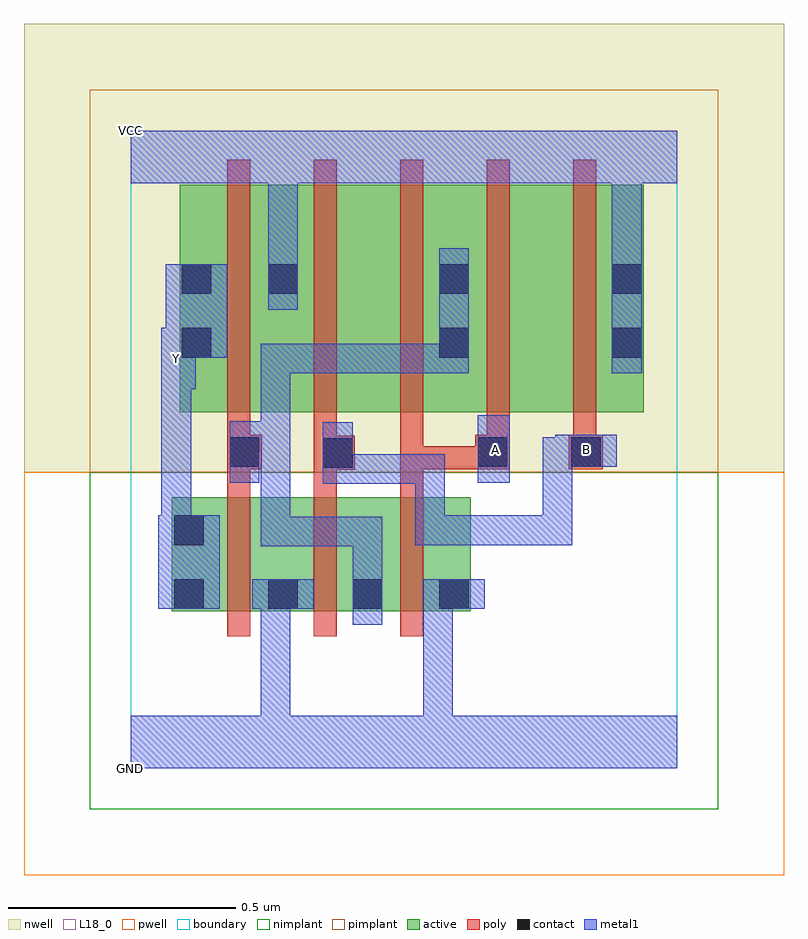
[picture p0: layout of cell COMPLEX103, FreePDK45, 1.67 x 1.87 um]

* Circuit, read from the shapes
.subckt COMPLEX103 A B GND VCC Y
M1 GND n1 Y VSUBS nfet w=0.25u l=0.05u
M2 n1 B GND VSUBS nfet w=0.25u l=0.05u
M3 GND A n1 VSUBS nfet w=0.25u l=0.05u
M4 VCC n1 Y n2 pfet w=0.5u l=0.05u
M5 n3 B VCC n2 pfet w=0.5u l=0.05u
M6 n1 A n3 n2 pfet w=0.5u l=0.05u
M7 n4 A n1 n2 pfet w=0.5u l=0.05u
M8 VCC B n4 n2 pfet w=0.5u l=0.05u
.ends

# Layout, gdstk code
import gdstk
lib = gdstk.Library(unit=1e-6, precision=1e-09)
def R(c, l, rs):  # rectangles x0, y0, x1, y1
    for r in rs: c.add(gdstk.rectangle(r[:2], r[2:], *l))
def A(c, l, x, y, w, h, nx, ny, dx, dy):  # array of equal rectangles
    R(c, l, [(x+i*dx, y+j*dy, x+i*dx+w, y+j*dy+h) for i in range(nx) for j in range(ny)])
active = (1, 0)
pwell = (2, 0)
nwell = (3, 0)
nimplant = (4, 0)
pimplant = (5, 0)
poly = (9, 0)
contact = (10, 0)
metal1 = (11, 0)
L18_0 = (18, 0)
boundary = (235, 0)

complex103 = lib.new_cell('COMPLEX103')
R(complex103, active, [(0.09,0.345,0.165,0.595), (0.09,0.345,0.372,0.595), (0.297,0.345,0.557,0.595), (0.297,0.345,0.372,0.497), (0.482,0.345,0.557,0.595), (0.482,0.345,0.747,0.595), (0.672,0.345,0.747,0.595), (0.107,0.782,0.372,1.282), (0.107,0.782,0.182,1.2), (0.297,0.782,0.522,1.282), (0.522,0.782,0.747,1.282), (0.672,0.782,0.902,1.282), (0.902,0.782,1.127,1.282), (1.052,0.782,1.127,1.205), (0.297,0.807,0.372,1.205), (0.672,0.807,0.747,1.2)])
R(complex103, pwell, [(-0.235,-0.235,1.435,0.65)])
R(complex103, nwell, [(-0.235,0.65,1.435,1.635)])
R(complex103, nimplant, [(-0.09,-0.09,1.29,0.65)])
R(complex103, pimplant, [(-0.09,0.65,1.29,1.49)])
A(complex103, poly, 0.212, 0.29, 0.05, 0.36, 3, 1, 0.19, 0)
A(complex103, poly, 0.212, 0.727, 0.05, 0.61, 5, 1, 0.19, 0)
R(complex103, poly, [(0.212,0.6,0.262,0.707), (0.402,0.6,0.452,0.705), (0.592,0.6,0.642,0.707), (0.402,0.655,0.492,0.73), (0.212,0.657,0.287,0.732), (0.592,0.657,0.807,0.707), (0.592,0.657,0.642,0.707), (0.592,0.657,0.642,0.707), (0.592,0.657,0.642,0.707), (0.592,0.657,0.642,0.777), (0.757,0.657,0.832,0.732), (0.962,0.657,1.037,0.732), (0.402,0.68,0.452,0.777), (0.212,0.682,0.262,0.777), (0.782,0.682,0.832,0.777), (0.972,0.682,1.022,0.777)])
R(complex103, contact, [(0.095,0.35,0.16,0.415), (0.302,0.35,0.367,0.415), (0.487,0.35,0.552,0.415), (0.677,0.35,0.742,0.415), (0.095,0.49,0.16,0.555), (0.422,0.66,0.487,0.725), (0.217,0.662,0.282,0.727), (0.762,0.662,0.827,0.727), (0.967,0.662,1.032,0.727), (0.112,0.902,0.177,0.967), (0.677,0.902,0.742,0.967), (1.057,0.902,1.122,0.967), (0.112,1.042,0.177,1.107), (0.302,1.042,0.367,1.107), (0.677,1.042,0.742,1.107), (1.057,1.042,1.122,1.107)])
R(complex103, metal1, [(0,0,1.2,0.115), (0.285,0.05,0.35,0.415), (0.642,0.05,0.707,0.115), (0.642,0.05,0.707,0.115), (0.642,0.05,0.707,0.115), (0.642,0.05,0.707,0.115), (0.642,0.05,0.707,0.415), (0.487,0.315,0.552,0.45), (0.06,0.35,0.195,0.555), (0.267,0.35,0.402,0.415), (0.285,0.35,0.35,0.415), (0.285,0.35,0.35,0.415), (0.285,0.35,0.35,0.415), (0.285,0.35,0.35,0.415), (0.642,0.35,0.777,0.415), (0.487,0.385,0.552,0.45), (0.487,0.385,0.552,0.552), (0.285,0.487,0.35,0.552), (0.285,0.487,0.35,0.762), (0.285,0.487,0.552,0.552), (0.067,0.49,0.132,0.897), (0.625,0.49,0.69,0.555), (0.625,0.49,0.86,0.555), (0.625,0.49,0.69,0.69), (0.795,0.49,0.86,0.555), (0.795,0.49,0.97,0.555), (0.905,0.49,0.97,0.555), (0.905,0.49,0.97,0.727), (0.422,0.625,0.487,0.69), (0.422,0.625,0.487,0.69), (0.422,0.625,0.69,0.69), (0.422,0.625,0.487,0.76), (0.625,0.625,0.69,0.69), (0.625,0.625,0.69,0.69), (0.625,0.625,0.69,0.69), (0.217,0.627,0.282,0.762), (0.762,0.627,0.832,0.775), (0.905,0.662,0.97,0.727), (0.905,0.662,0.997,0.727), (0.932,0.662,1.067,0.732), (0.217,0.697,0.35,0.762), (0.285,0.697,0.35,0.762), (0.285,0.697,0.35,0.932), (0.067,0.832,0.142,0.967), (0.285,0.867,0.35,0.932), (0.285,0.867,0.487,0.932), (0.422,0.867,0.487,0.932), (0.422,0.867,0.487,0.932), (0.422,0.867,0.487,0.932), (0.422,0.867,0.69,0.932), (0.625,0.867,0.69,0.932), (0.625,0.867,0.742,0.932), (0.677,0.867,0.742,1.142), (1.057,0.867,1.122,1.142), (0.077,0.902,0.142,0.967), (0.077,0.902,0.212,1.107), (0.302,1.007,0.367,1.142), (0.302,1.077,0.367,1.142), (0.302,1.077,0.367,1.142), (0.302,1.077,0.367,1.35), (1.057,1.077,1.122,1.142), (1.057,1.077,1.122,1.142), (1.057,1.077,1.122,1.35), (0,1.285,1.2,1.4)])
R(complex103, L18_0, [(0,0,1.2,0.115), (0.285,0.05,0.35,0.415), (0.642,0.05,0.707,0.115), (0.642,0.05,0.707,0.115), (0.642,0.05,0.707,0.115), (0.642,0.05,0.707,0.115), (0.642,0.05,0.707,0.415), (0.06,0.35,0.195,0.555), (0.267,0.35,0.402,0.415), (0.285,0.35,0.35,0.415), (0.285,0.35,0.35,0.415), (0.285,0.35,0.35,0.415), (0.285,0.35,0.35,0.415), (0.642,0.35,0.777,0.415), (0.067,0.49,0.132,0.897), (0.625,0.49,0.69,0.555), (0.625,0.49,0.69,0.69), (0.625,0.49,0.86,0.555), (0.795,0.49,0.86,0.555), (0.795,0.49,0.97,0.555), (0.905,0.49,0.97,0.555), (0.905,0.49,0.97,0.727), (0.422,0.625,0.487,0.69), (0.422,0.625,0.487,0.69), (0.422,0.625,0.487,0.76), (0.422,0.625,0.69,0.69), (0.625,0.625,0.69,0.69), (0.625,0.625,0.69,0.69), (0.625,0.625,0.69,0.69), (0.762,0.627,0.832,0.775), (0.905,0.662,0.97,0.727), (0.905,0.662,0.997,0.727), (0.932,0.662,1.067,0.732), (0.767,0.667,0.832,0.732), (0.967,0.667,1.032,0.732), (0.067,0.832,0.142,0.967), (0.067,0.867,0.132,0.932), (1.057,0.867,1.122,1.142), (0.077,0.902,0.212,1.107), (0.077,0.902,0.142,0.967), (0.302,1.007,0.367,1.142), (0.302,1.077,0.367,1.142), (0.302,1.077,0.367,1.142), (0.302,1.077,0.367,1.35), (1.057,1.077,1.122,1.142), (1.057,1.077,1.122,1.142), (1.057,1.077,1.122,1.35), (0,1.285,1.2,1.4)])
R(complex103, boundary, [(0,0,1.2,1.4)])
complex103.add(gdstk.Label('A', (0.8,0.7), layer=11, texttype=0))
complex103.add(gdstk.Label('B', (1,0.7), layer=11, texttype=0))
complex103.add(gdstk.Label('Y', (0.1,0.9), layer=11, texttype=0))
complex103.add(gdstk.Label('VCC', (0,1.4), layer=11, texttype=0))
complex103.add(gdstk.Label('GND', (0,0), layer=11, texttype=0))

lib.write_gds('COMPLEX103.gds')
